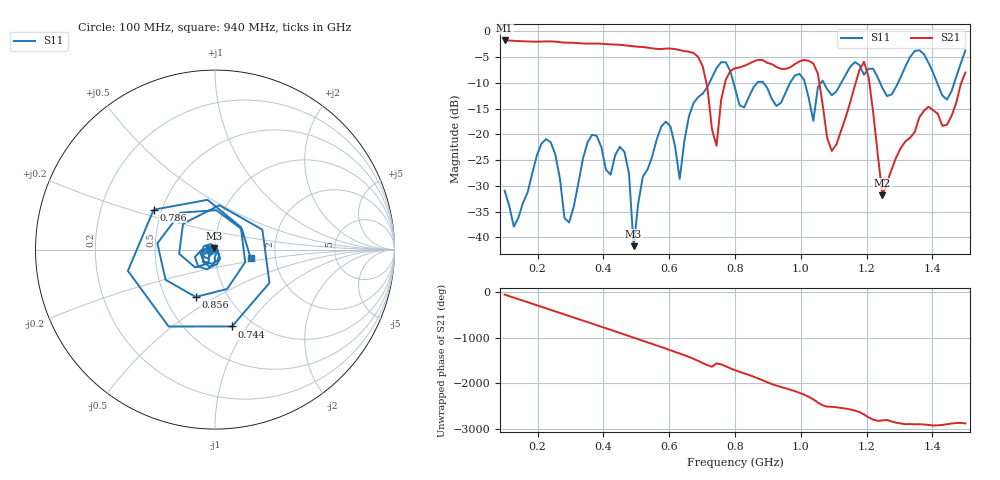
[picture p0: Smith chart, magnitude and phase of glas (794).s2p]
! NanoVNA-App
! Date: 2025-09-25 16:01:39
! Start: 100MHz Stop: 1,5GHz Points: 101
! S-Parameter data: F S11 S21 S12 S22
# Hz S RI R 50
!  Frequency  S11_Real  S11_Imag  S21_Real  S21_Imag  S12_Real  S12_Imag  S22_Real  S22_Imag
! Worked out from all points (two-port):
!   101 points, 100 MHz to 1.5 GHz, reference 50 ohm
!   highest |S21| = -1.80 dB at 100 MHz (marker M1); lowest = -31.9 dB at 1.248 GHz (marker M2)
!   |S21| within 3 dB of the highest: start of sweep to 684.7 MHz
!   lowest |S11| = -41.7 dB at 492 MHz (marker M3), VSWR 1.02, Z = 49.5 + j0.656 ohm
!   |S11| at or under -10 dB: start of sweep to 722.4 MHz; 795.5 MHz to 867.7 MHz (72.19 MHz wide, 8.68 % of centre); 886.1 MHz to 967.5 MHz (81.39 MHz wide, 8.78 % of centre) (the widest 3 of 7)
!   S12 and S22 are empty: the file has one direction only
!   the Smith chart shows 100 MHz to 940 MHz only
!   S11 on the Smith chart (normalised r, x): 100 MHz: 0.94, -0.01; 744 MHz: 0.81, -0.85; 786 MHz: 0.45, +0.24; 856 MHz: 0.71, -0.41; 940 MHz: 1.49, -0.14
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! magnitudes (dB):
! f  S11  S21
! 100 MHz  -30.9  -1.8
! 128 MHz  -37.9  -1.9
! 226 MHz  -20.9  -2.0
! 296 MHz  -37.1  -2.2
! 338 MHz  -24.7  -2.4
! 464 MHz  -23.4  -2.7
! 492 MHz  -41.7  -2.9
! 576 MHz  -18.5  -3.5
! 632 MHz  -28.7  -3.7
! 702 MHz  -12.1  -6.8
! 744 MHz  -7.2  -22.2
! 786 MHz  -7.8  -7.7
! 800 MHz  -11.0  -7.2
! 856 MHz  -10.9  -5.9
! 940 MHz  -13.9  -7.3
! 996 MHz  -8.3  -5.9
! 1.038 GHz  -17.4  -6.3
! 1.094 GHz  -12.4  -23.2
! 1.192 GHz  -8.5  -5.9
! 1.248 GHz  -11.1  -31.9
! 1.276 GHz  -12.3  -26.8
! 1.5 GHz  -3.7  -8.0
